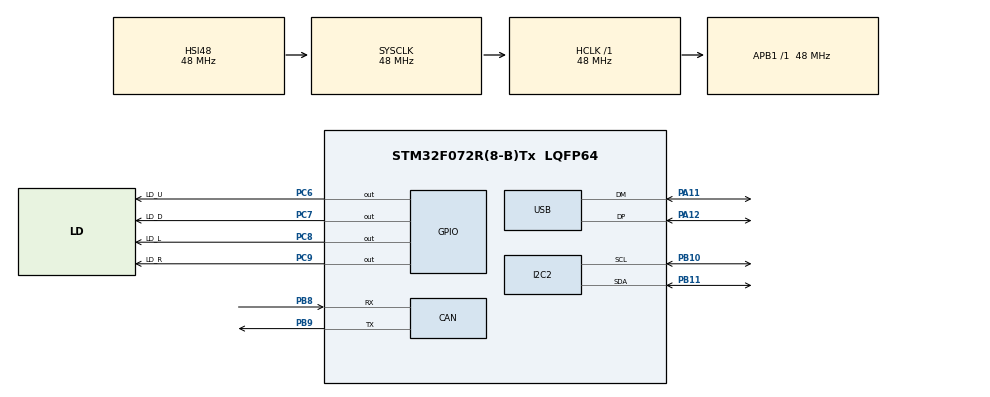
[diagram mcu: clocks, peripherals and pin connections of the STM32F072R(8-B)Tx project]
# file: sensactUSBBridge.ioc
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CAN.CalculateTimeQuantum=333.3333333333333
I2C2.Timing=0x20303E5D
Mcu.Family=STM32F0
Mcu.Name=STM32F072R(8-B)Tx
Mcu.Package=LQFP64
PA11.Mode=Device
PA11.Signal=USB_DM
PA12.Mode=Device
PA12.Signal=USB_DP
PB10.Mode=I2C
PB10.Signal=I2C2_SCL
PB11.Mode=I2C
PB11.Signal=I2C2_SDA
PB8.Mode=Master
PB8.Signal=CAN_RX
PB9.Mode=Master
PB9.Signal=CAN_TX
PC6.GPIO_Label=LD_U
PC6.Signal=GPIO_Output
PC7.GPIO_Label=LD_D
PC7.Signal=GPIO_Output
PC8.GPIO_Label=LD_L
PC8.Signal=GPIO_Output
PC9.GPIO_Label=LD_R
PC9.Signal=GPIO_Output
ProjectManager.HeapSize=0x200
ProjectManager.StackSize=0x400
ProjectManager.TargetToolchain=STM32CubeIDE
RCC.AHBFreq_Value=48000000
RCC.APB1Freq_Value=48000000
RCC.APB1TimFreq_Value=48000000
RCC.HCLKFreq_Value=48000000
RCC.SYSCLKFreq_VALUE=48000000
RCC.SYSCLKSource=RCC_SYSCLKSOURCE_HSI48
board=custom

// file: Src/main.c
/* USER CODE BEGIN Header */
/**
 ******************************************************************************
 * @file           : main.c
 * @brief          : Main program body
 ******************************************************************************
 * @attention
 *
 * <h2><center>&copy; Copyright (c) 2019 STMicroelectronics.
 * All rights reserved.</center></h2>
 *
 * This software component is licensed by ST under BSD 3-Clause license,
 * the "License"; You may not use this file except in compliance with the
 * License. You may obtain a copy of the License at:
 *                        opensource.org/licenses/BSD-3-Clause
 *
 ******************************************************************************
 */
/* USER CODE END Header */

#include "main.h"

CAN_HandleTypeDef hcan;

I2C_HandleTypeDef hi2c2;

PCD_HandleTypeDef hpcd_USB_FS;

void SystemClock_Config(void);
static void MX_GPIO_Init(void);
static void MX_CAN_Init(void);
static void MX_I2C2_Init(void);
static void MX_USB_PCD_Init(void);

int main(void)
{

  /* MCU Configuration--------------------------------------------------------*/

  /* Reset of all peripherals, Initializes the Flash interface and the Systick. */
  HAL_Init();

  /* Configure the system clock */
  SystemClock_Config();

  /* Initialize all configured peripherals */
  MX_GPIO_Init();
  MX_CAN_Init();
  MX_I2C2_Init();
  MX_USB_PCD_Init();
  /* USER CODE BEGIN 2 */
	//#define DEV_ADDR 0xAE
#define DEV_ADDR 0x04
#define ADDR_SIZE I2C_MEMADD_SIZE_16BIT
	uint8_t data_w[] = {0xAA, 0x55};
	uint8_t data_r[] ={0,0};
	while(1)
	{
		for(int addr=4;addr<256;addr+=2)
		{
			if(HAL_I2C_IsDeviceReady(&hi2c2, addr, 1, HAL_MAX_DELAY)==HAL_OK)
			{
				HAL_GPIO_WritePin(GPIOC, GPIO_PIN_9, GPIO_PIN_SET);
			}
		}
		HAL_GPIO_TogglePin(LD_R_GPIO_Port, LD_R_Pin);
		HAL_Delay(200);
	}

  /* USER CODE END 2 */

  /* Infinite loop */
  /* USER CODE BEGIN WHILE */
	while (1)
	{

		HAL_I2C_Mem_Write(&hi2c2, DEV_ADDR, 1,ADDR_SIZE, data_w, 2, HAL_MAX_DELAY);
		HAL_GPIO_TogglePin(GPIOC, GPIO_PIN_6);
		HAL_Delay(1000);
		HAL_I2C_Mem_Read(&hi2c2, DEV_ADDR, 1,ADDR_SIZE, data_r, 2, HAL_MAX_DELAY);
		HAL_GPIO_TogglePin(GPIOC, GPIO_PIN_6);
		HAL_Delay(1000);
    /* USER CODE END WHILE */

	}
}

void SystemClock_Config(void)
{
  RCC_OscInitTypeDef RCC_OscInitStruct = {0};
  RCC_ClkInitTypeDef RCC_ClkInitStruct = {0};
  RCC_PeriphCLKInitTypeDef PeriphClkInit = {0};

  /** Initializes the CPU, AHB and APB busses clocks
  */
  RCC_OscInitStruct.OscillatorType = RCC_OSCILLATORTYPE_HSI48;
  RCC_OscInitStruct.HSI48State = RCC_HSI48_ON;
  RCC_OscInitStruct.PLL.PLLState = RCC_PLL_NONE;
  if (HAL_RCC_OscConfig(&RCC_OscInitStruct) != HAL_OK)
  {
    Error_Handler();
  }
  /** Initializes the CPU, AHB and APB busses clocks
  */
  RCC_ClkInitStruct.ClockType = RCC_CLOCKTYPE_HCLK|RCC_CLOCKTYPE_SYSCLK
                              |RCC_CLOCKTYPE_PCLK1;
  RCC_ClkInitStruct.SYSCLKSource = RCC_SYSCLKSOURCE_HSI48;
  RCC_ClkInitStruct.AHBCLKDivider = RCC_SYSCLK_DIV1;
  RCC_ClkInitStruct.APB1CLKDivider = RCC_HCLK_DIV1;

  if (HAL_RCC_ClockConfig(&RCC_ClkInitStruct, FLASH_LATENCY_1) != HAL_OK)
  {
    Error_Handler();
  }
  PeriphClkInit.PeriphClockSelection = RCC_PERIPHCLK_USB;
  PeriphClkInit.UsbClockSelection = RCC_USBCLKSOURCE_HSI48;

  if (HAL_RCCEx_PeriphCLKConfig(&PeriphClkInit) != HAL_OK)
  {
    Error_Handler();
  }
}

static void MX_CAN_Init(void)
{

  hcan.Instance = CAN;
  hcan.Init.Prescaler = 16;
  hcan.Init.Mode = CAN_MODE_NORMAL;
  hcan.Init.SyncJumpWidth = CAN_SJW_1TQ;
  hcan.Init.TimeSeg1 = CAN_BS1_1TQ;
  hcan.Init.TimeSeg2 = CAN_BS2_1TQ;
  hcan.Init.TimeTriggeredMode = DISABLE;
  hcan.Init.AutoBusOff = DISABLE;
  hcan.Init.AutoWakeUp = DISABLE;
  hcan.Init.AutoRetransmission = DISABLE;
  hcan.Init.ReceiveFifoLocked = DISABLE;
  hcan.Init.TransmitFifoPriority = DISABLE;
  if (HAL_CAN_Init(&hcan) != HAL_OK)
  {
    Error_Handler();
  }

}

static void MX_I2C2_Init(void)
{

  hi2c2.Instance = I2C2;
  hi2c2.Init.Timing = 0x20303E5D;
  hi2c2.Init.OwnAddress1 = 0;
  hi2c2.Init.AddressingMode = I2C_ADDRESSINGMODE_7BIT;
  hi2c2.Init.DualAddressMode = I2C_DUALADDRESS_DISABLE;
  hi2c2.Init.OwnAddress2 = 0;
  hi2c2.Init.OwnAddress2Masks = I2C_OA2_NOMASK;
  hi2c2.Init.GeneralCallMode = I2C_GENERALCALL_DISABLE;
  hi2c2.Init.NoStretchMode = I2C_NOSTRETCH_DISABLE;
  if (HAL_I2C_Init(&hi2c2) != HAL_OK)
  {
    Error_Handler();
  }
  /** Configure Analogue filter
  */
  if (HAL_I2CEx_ConfigAnalogFilter(&hi2c2, I2C_ANALOGFILTER_ENABLE) != HAL_OK)
  {
    Error_Handler();
  }
  /** Configure Digital filter
  */
  if (HAL_I2CEx_ConfigDigitalFilter(&hi2c2, 0) != HAL_OK)
  {
    Error_Handler();
  }

}

static void MX_USB_PCD_Init(void)
{

  hpcd_USB_FS.Instance = USB;
  hpcd_USB_FS.Init.dev_endpoints = 8;
  hpcd_USB_FS.Init.speed = PCD_SPEED_FULL;
  hpcd_USB_FS.Init.phy_itface = PCD_PHY_EMBEDDED;
  hpcd_USB_FS.Init.low_power_enable = DISABLE;
  hpcd_USB_FS.Init.lpm_enable = DISABLE;
  hpcd_USB_FS.Init.battery_charging_enable = DISABLE;
  if (HAL_PCD_Init(&hpcd_USB_FS) != HAL_OK)
  {
    Error_Handler();
  }

}

static void MX_GPIO_Init(void)
{
  GPIO_InitTypeDef GPIO_InitStruct = {0};

  /* GPIO Ports Clock Enable */
  __HAL_RCC_GPIOB_CLK_ENABLE();
  __HAL_RCC_GPIOC_CLK_ENABLE();
  __HAL_RCC_GPIOA_CLK_ENABLE();

  /*Configure GPIO pin Output Level */
  HAL_GPIO_WritePin(GPIOC, LD_U_Pin|LD_D_Pin|LD_L_Pin|LD_R_Pin, GPIO_PIN_RESET);

  /*Configure GPIO pins : LD_U_Pin LD_D_Pin LD_L_Pin LD_R_Pin */
  GPIO_InitStruct.Pin = LD_U_Pin|LD_D_Pin|LD_L_Pin|LD_R_Pin;
  GPIO_InitStruct.Mode = GPIO_MODE_OUTPUT_PP;
  GPIO_InitStruct.Pull = GPIO_NOPULL;
  GPIO_InitStruct.Speed = GPIO_SPEED_FREQ_LOW;
  HAL_GPIO_Init(GPIOC, &GPIO_InitStruct);

}

void Error_Handler(void)
{
}

/************************ (C) COPYRIGHT STMicroelectronics *****END OF FILE****/
